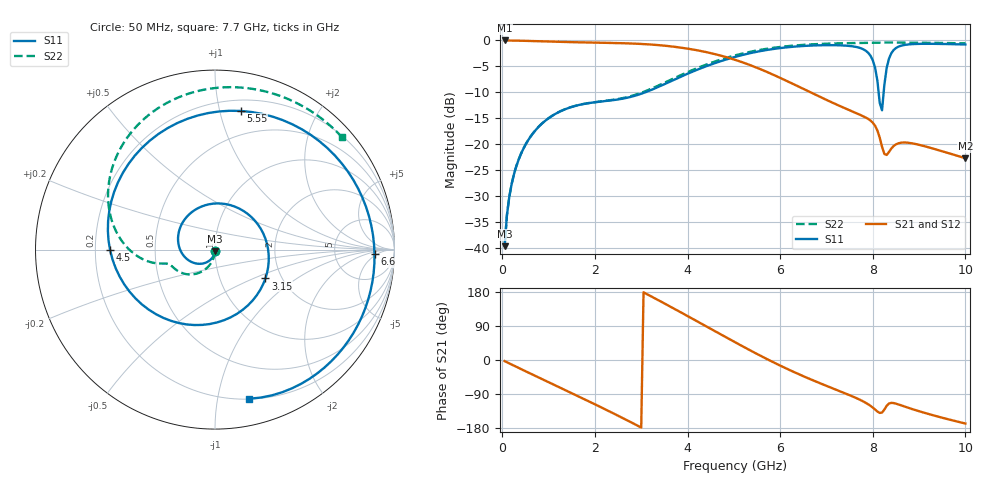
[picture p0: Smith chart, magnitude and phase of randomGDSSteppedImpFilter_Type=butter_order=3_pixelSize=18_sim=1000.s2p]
! freq	dB(S11)	phase(S11)	dB(S12)	phase(S12)
!  dB(S21)	phase(S21)	dB(S22)	phase(S22)
!S-par simulation data
#  GHz  S  DB  R 50
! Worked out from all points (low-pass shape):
!   200 points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, 50 MHz to 10 GHz, reference 50 ohm
!   highest |S21| = -0.01 dB at 50 MHz (marker M1); lowest = -22.7 dB at 10 GHz (marker M2)
!   |S21| within 3 dB of the highest: start of sweep to 4.749 GHz
!   lowest |S11| = -39.7 dB at 50 MHz (marker M3), VSWR 1.02, Z = 49.9 - j1.03 ohm
!   |S11| at or under -10 dB: start of sweep to 3.091 GHz; 8.126 GHz to 8.236 GHz (109.6 MHz wide, 1.34 % of centre)
!   |S22| runs from -39.7 to -0.4 dB; largest |S21 - S12| = 0
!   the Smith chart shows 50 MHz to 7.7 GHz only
!   S11 on the Smith chart (normalised r, x): 50 MHz: 1.00, -0.02; 3.15 GHz: 1.65, -0.59; 4.5 GHz: 0.26, -0.00; 5.55 GHz: 0.29, +1.16; 6.6 GHz: 16, -4; 7.7 GHz: 0.20, -1.24
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0.05  -39.70 -93.4  -0.01 -3.0  -0.01 -3.0  -39.66 -91.5
0.2  -27.79 -105.5  -0.03 -11.9  -0.03 -11.9  -27.77 -98.3
0.5  -20.15 -129.2  -0.08 -29.5  -0.08 -29.5  -20.12 -110.9
1.15  -14.16 179.0  -0.25 -67.4  -0.25 -67.4  -14.14 -135.1
1.75  -12.28 126.6  -0.39 -102.2  -0.39 -102.2  -12.26 -152.3
2.55  -11.32 42.4  -0.53 -150.0  -0.53 -150.0  -11.22 -163.3
3.15  -9.80 -29.8  -0.76 172.1  -0.76 172.1  -9.58 -166.7
3.4  -8.85 -59.6  -0.93 155.9  -0.93 155.9  -8.59 -169.5
3.95  -6.62 -121.6  -1.51 119.4  -1.51 119.4  -6.32 179.4
4.5  -4.67 -179.7  -2.45 82.4  -2.45 82.4  -4.35 163.0
5.05  -3.12 125.6  -3.81 45.3  -3.81 45.3  -2.83 143.4
5.55  -2.10 79.5  -5.46 12.8  -5.46 12.8  -1.85 124.1
6.6  -1.02 -1.6  -9.78 -48.0  -9.78 -48.0  -0.80 82.6
6.7  -0.98 -8.3  -10.21 -53.1  -10.21 -53.1  -0.75 78.8
7.7  -1.39 -77.1  -14.26 -103.6  -14.26 -103.6  -0.49 41.5
7.95  -2.95 -109.2  -15.46 -121.0  -15.46 -121.0  -0.47 32.7
8.1  -7.78 -156.1  -17.39 -135.9  -17.39 -135.9  -0.45 27.5
8.2  -13.48 84.1  -20.51 -138.8  -20.51 -138.8  -0.42 24.0
8.35  -3.52 -14.6  -21.52 -114.9  -21.52 -114.9  -0.41 18.7
8.55  -1.22 -52.6  -19.86 -117.1  -19.86 -117.1  -0.42 11.8
8.8  -0.75 -75.2  -19.79 -127.5  -19.79 -127.5  -0.43 3.5
10  -0.79 -131.7  -22.73 -167.6  -22.73 -167.6  -0.57 -34.8
